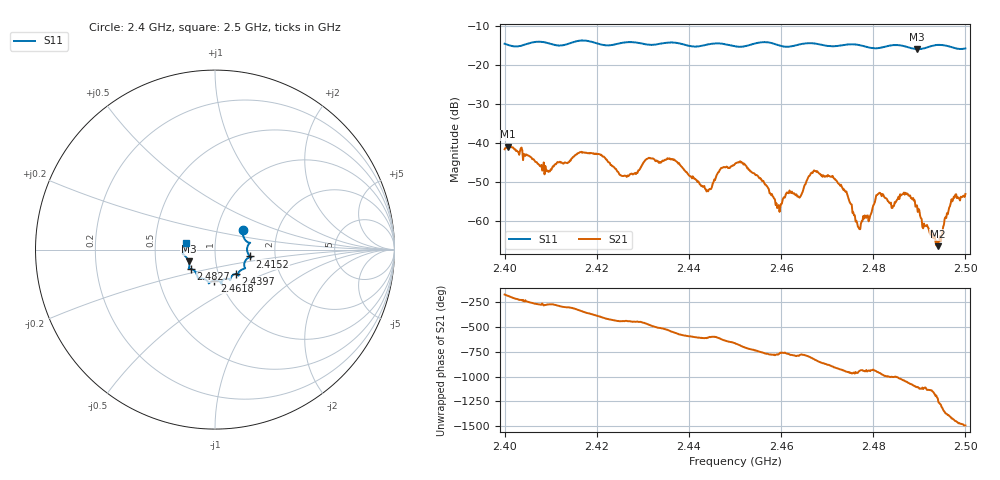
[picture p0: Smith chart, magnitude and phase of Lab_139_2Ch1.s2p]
# Hz S RI R 50
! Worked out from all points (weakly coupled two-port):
!   601 points, 2.4 GHz to 2.5 GHz, reference 50 ohm
!   highest |S21| = -40.92 dB at 2.4007 GHz (marker M1); lowest = -66.5 dB at 2.494 GHz (marker M2)
!   lowest |S11| = -15.9 dB at 2.4895 GHz (marker M3), VSWR 1.38, Z = 37 - j5.01 ohm
!   |S11| at or under -10 dB: start of sweep to end of sweep
!   S12 and S22 are empty: the file has one direction only
!   S11 on the Smith chart (normalised r, x): 2.4 GHz: 1.33, +0.30; 2.4152 GHz: 1.48, -0.12; 2.4397 GHz: 1.21, -0.34; 2.4618 GHz: 0.94, -0.33; 2.4827 GHz: 0.75, -0.17; 2.5 GHz: 0.72, +0.06
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2.4e9  0.1551 0.1073  -0.00833 -0.000435  0 0  0 0
2.400667e9  0.1546 0.0973  -0.00889 0.00136  0 0  0 0
2.409167e9  0.1906 0.0337  0.00061 0.00431  0 0  0 0
2.415167e9  0.1957 -0.0384  0.00511 0.00457  0 0  0 0
2.416667e9  0.2026 -0.0434  0.00737 0.00228  0 0  0 0
2.426e9  0.1668 -0.1017  0.000376 -0.0038  0 0  0 0
2.433333e9  0.1296 -0.1341  -0.00506 -0.00287  0 0  0 0
2.439667e9  0.1167 -0.1358  -0.00247 0.00325  0 0  0 0
2.444333e9  0.0845 -0.1652  -0.00104 0.0023  0 0  0 0
2.45e9  0.0651 -0.1622  0.00312 0.00441  0 0  0 0
2.459333e9  0.0279 -0.1791  0.000761 -0.00135  0 0  0 0
2.461833e9  -0.0032 -0.1728  0.00132 -0.00207  0 0  0 0
2.464167e9  -0.029 -0.1831  0.000976 -0.0018  0 0  0 0
2.466667e9  -0.0346 -0.1881  -0.000164 -0.00417  0 0  0 0
2.471667e9  -0.0665 -0.1619  -0.00343 0.000497  0 0  0 0
2.476833e9  -0.0965 -0.1539  -0.000525 0.000632  0 0  0 0
2.482667e9  -0.1349 -0.1086  0.000108 0.00196  0 0  0 0
2.483333e9  -0.1401 -0.1082  0.000336 0.00173  0 0  0 0
2.4895e9  -0.146 -0.066  0.0014 -0.000737  0 0  0 0
2.494e9  -0.1806 -0.0225  -0.000357 -0.000312  0 0  0 0
2.497333e9  -0.1679 -0.00337  0.00186 0.000402  0 0  0 0
2.5e9  -0.1594 0.0389  0.00141 -0.00171  0 0  0 0
